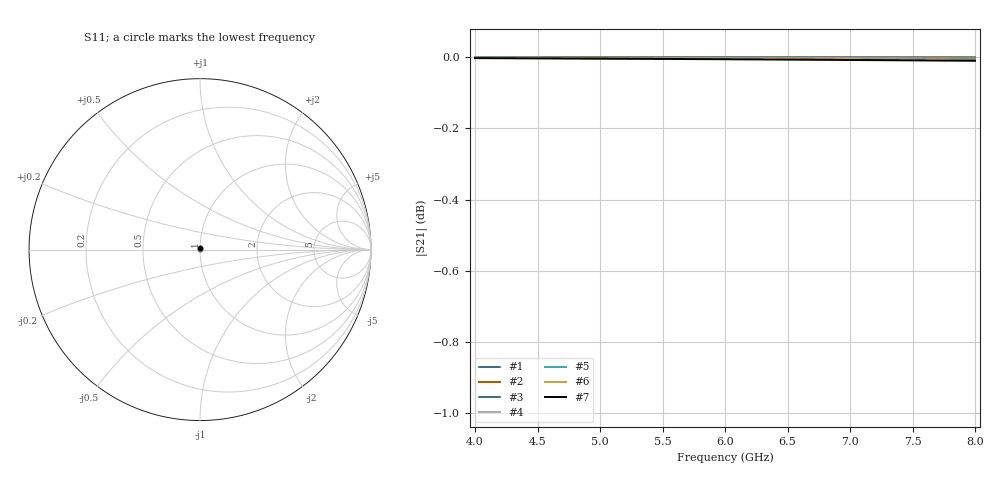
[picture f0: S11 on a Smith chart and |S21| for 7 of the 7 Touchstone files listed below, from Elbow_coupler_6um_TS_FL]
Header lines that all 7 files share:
! Sonnet Data File
! From: em Version : 15.52
! From Project: CPW_gap_coupler_3port_1um_FL_TS_6um_finer
! Data is De-embedded
! Data File Written: 08/14/2018 18:07:51
!< HDATE 08/14/2018 17:46:56
!< MDATE 08/14/2018 17:46:56
!< PARAMS
!< END PARAMS
# GHZ S MA R 50.00000
Fixed: gap = 2.0, cpwS = 5.0, cpwS1 = 5.0, feedW = 12.0, feedS1 = 5.0, hangerW = 12.0000175, open_gap = 22.0
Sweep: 4 GHz to 8 GHz
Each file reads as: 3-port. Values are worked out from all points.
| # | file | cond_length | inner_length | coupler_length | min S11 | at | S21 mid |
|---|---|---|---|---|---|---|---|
| 1 | CPW_gap_coupler_3port_1um_FL_TS_6um_finer_TS_6um_param1.s3p | 44.0 | 26.0 | 50.0 | -47.9 dB | 4 GHz | 0.0 dB at 6 GHz |
| 2 | CPW_gap_coupler_3port_1um_FL_TS_6um_finer_TS_6um_param2.s3p | 144.0 | 126.0 | 150.0 | -46.0 dB | 4 GHz | 0.0 dB at 6 GHz |
| 3 | CPW_gap_coupler_3port_1um_FL_TS_6um_finer_TS_6um_param3.s3p | 244.0 | 226.0 | 250.0 | -44.5 dB | 4 GHz | 0.0 dB at 6 GHz |
| 4 | CPW_gap_coupler_3port_1um_FL_TS_6um_finer_TS_6um_param4.s3p | 344.0 | 326.0 | 350.0 | -43.3 dB | 4 GHz | 0.0 dB at 6 GHz |
| 5 | CPW_gap_coupler_3port_1um_FL_TS_6um_finer_TS_6um_param5.s3p | 444.0 | 426.0 | 450.0 | -42.2 dB | 4 GHz | 0.0 dB at 6 GHz |
| 6 | CPW_gap_coupler_3port_1um_FL_TS_6um_finer_TS_6um_param6.s3p | 544.0 | 526.0 | 550.0 | -41.2 dB | 4 GHz | 0.0 dB at 6 GHz |
| 7 | CPW_gap_coupler_3port_1um_FL_TS_6um_finer_TS_6um_param7.s3p | 644.0 | 626.0 | 650.0 | -40.7 dB | 4 GHz | 0.0 dB at 6 GHz |
